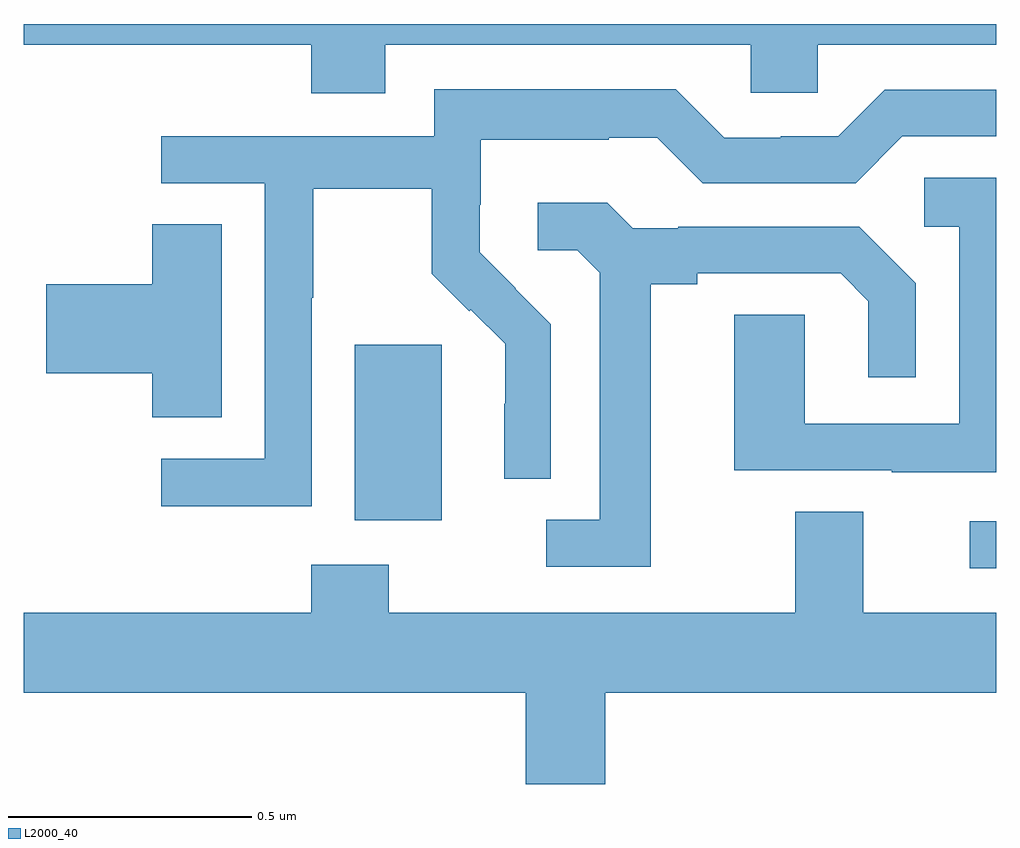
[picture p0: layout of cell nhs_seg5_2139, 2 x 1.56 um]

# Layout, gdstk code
import gdstk
lib = gdstk.Library(unit=1e-6, precision=1e-09)
def R(c, l, rs):  # rectangles x0, y0, x1, y1
    for r in rs: c.add(gdstk.rectangle(r[:2], r[2:], *l))
def P(c, l, *ps):  # polygons
    for p in ps: c.add(gdstk.Polygon(p, *l))
L2000_40 = (2000, 40)

nhs_seg5_2139 = lib.new_cell('nhs_seg5_2139')
R(nhs_seg5_2139, L2000_40, [(141.945,859.68,142,859.776), (140.681,859.778,140.86,860.139)])
P(nhs_seg5_2139, L2000_40, [(140.743,860.756),(141.495,860.756),(141.495,860.658),(141.633,860.658),(141.633,860.756),(142,860.756),(142,860.799),(140,860.799),(140,860.756),(140.591,860.756),(140.591,860.657),(140.743,860.657)],
  [(140.592,860.236),(140.595,860.236),(140.595,860.46),(140.839,860.46),(140.839,860.285),(140.916,860.208),(140.919,860.211),(140.99,860.141),(140.99,860.018),(140.988,860.018),(140.988,859.864),(141.084,859.864),(141.084,860.182),(141.011,860.255),(141.012,860.256),(140.938,860.33),(140.938,860.427),(140.94,860.427),(140.94,860.561),(141.203,860.561),(141.203,860.565),(141.303,860.565),(141.396,860.472),(141.711,860.472),(141.807,860.568),(142,860.568),(142,860.664),(141.771,860.664),(141.675,860.568),(141.557,860.568),(141.557,860.565),(141.441,860.565),(141.341,860.665),(140.844,860.665),(140.844,860.568),(140.283,860.568),(140.283,860.472),(140.496,860.472),(140.496,859.905),(140.283,859.905),(140.283,859.807),(140.592,859.807)],
  [(142,860.483),(141.852,860.483),(141.852,860.382),(141.924,860.382),(141.924,859.977),(141.606,859.977),(141.606,860.201),(141.461,860.201),(141.461,859.881),(141.785,859.881),(141.785,859.877),(142,859.877)],
  [(141.289,860.264),(141.385,860.264),(141.385,860.286),(141.68,860.286),(141.737,860.229),(141.737,860.073),(141.834,860.073),(141.834,860.266),(141.718,860.382),(141.346,860.382),(141.346,860.379),(141.252,860.379),(141.2,860.431),(141.057,860.431),(141.057,860.334),(141.138,860.334),(141.185,860.287),(141.185,859.779),(141.075,859.779),(141.075,859.683),(141.289,859.683)],
  [(140.407,860.387),(140.264,860.387),(140.264,860.264),(140.046,860.264),(140.046,860.081),(140.264,860.081),(140.264,859.99),(140.407,859.99)],
  [(141.196,859.424),(142,859.424),(142,859.588),(141.727,859.588),(141.727,859.796),(141.587,859.796),(141.587,859.588),(140.751,859.588),(140.751,859.687),(140.591,859.687),(140.591,859.588),(140,859.588),(140,859.424),(141.032,859.424),(141.032,859.236),(141.196,859.236)])

lib.write_gds('nhs_seg5_2139.gds')
